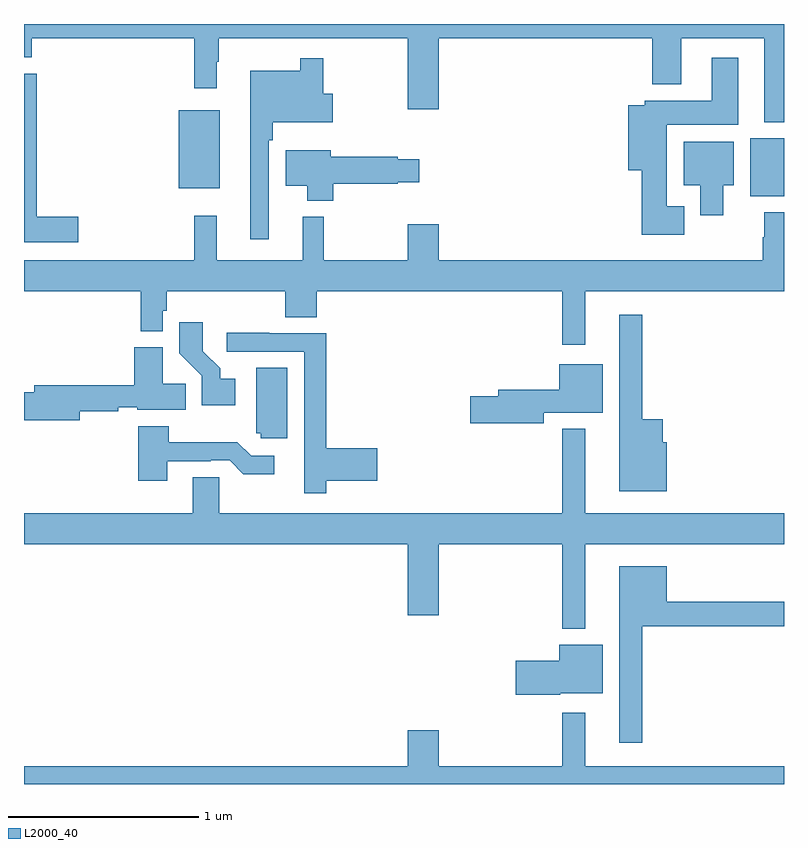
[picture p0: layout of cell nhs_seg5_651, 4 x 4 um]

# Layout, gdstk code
import gdstk
lib = gdstk.Library(unit=1e-6, precision=1e-09)
def R(c, l, rs):  # rectangles x0, y0, x1, y1
    for r in rs: c.add(gdstk.rectangle(r[:2], r[2:], *l))
def P(c, l, *ps):  # polygons
    for p in ps: c.add(gdstk.Polygon(p, *l))
L2000_40 = (2000, 40)

nhs_seg5_651 = lib.new_cell('nhs_seg5_651')
R(nhs_seg5_651, L2000_40, [(154.823,891.893,155,892.198), (151.814,891.935,152.029,892.345)])
P(nhs_seg5_651, L2000_40, [(155,892.799),(151,892.799),(151,892.625),(151.04,892.625),(151.04,892.724),(151.897,892.724),(151.897,892.461),(152.014,892.461),(152.014,892.601),(152.026,892.601),(152.026,892.724),(153.02,892.724),(153.02,892.35),(153.184,892.35),(153.184,892.724),(154.307,892.724),(154.307,892.481),(154.459,892.481),(154.459,892.724),(154.895,892.724),(154.895,892.283),(155,892.283)],
  [(154.474,891.841),(154.384,891.841),(154.384,892.268),(154.759,892.268),(154.759,892.621),(154.619,892.621),(154.619,892.396),(154.266,892.396),(154.266,892.372),(154.181,892.372),(154.181,892.028),(154.25,892.028),(154.25,891.689),(154.474,891.689)],
  [(152.289,892.187),(152.309,892.187),(152.309,892.283),(152.626,892.283),(152.626,892.431),(152.575,892.431),(152.575,892.618),(152.454,892.618),(152.454,892.552),(152.192,892.552),(152.192,891.666),(152.289,891.666)],
  [(151.285,891.785),(151.067,891.785),(151.067,892.538),(151,892.538),(151,891.65),(151.285,891.65)],
  [(154.681,891.95),(154.735,891.95),(154.735,892.18),(154.472,892.18),(154.472,891.95),(154.559,891.95),(154.559,891.792),(154.681,891.792)],
  [(152.627,891.958),(152.966,891.958),(152.966,891.965),(153.079,891.965),(153.079,892.087),(152.966,892.087),(152.966,892.1),(152.614,892.1),(152.614,892.135),(152.378,892.135),(152.378,891.947),(152.492,891.947),(152.492,891.869),(152.627,891.869)],
  [(153.955,891.392),(155,891.392),(155,891.808),(154.895,891.808),(154.895,891.677),(154.888,891.677),(154.888,891.556),(153.184,891.556),(153.184,891.745),(153.02,891.745),(153.02,891.556),(152.578,891.556),(152.578,891.784),(152.468,891.784),(152.468,891.556),(152.015,891.556),(152.015,891.79),(151.897,891.79),(151.897,891.556),(151,891.556),(151,891.392),(151.615,891.392),(151.615,891.182),(151.731,891.182),(151.731,891.291),(151.751,891.291),(151.751,891.392),(152.375,891.392),(152.375,891.256),(152.54,891.256),(152.54,891.392),(153.834,891.392),(153.834,891.111),(153.955,891.111)],
  [(154.384,890.598),(154.363,890.598),(154.363,890.719),(154.255,890.719),(154.255,891.268),(154.133,891.268),(154.133,890.339),(154.384,890.339)],
  [(152.113,890.932),(152.032,890.932),(152.032,890.987),(151.942,891.077),(151.942,891.229),(151.816,891.229),(151.816,891.066),(151.935,890.947),(151.935,890.792),(152.113,890.792)],
  [(152.591,890.396),(152.86,890.396),(152.86,890.567),(152.591,890.567),(152.591,891.171),(152.291,891.171),(152.291,891.174),(152.067,891.174),(152.067,891.075),(152.475,891.075),(152.475,890.55),(152.474,890.55),(152.474,890.328),(152.591,890.328)],
  [(151.294,890.761),(151.496,890.761),(151.496,890.781),(151.596,890.781),(151.596,890.768),(151.85,890.768),(151.85,890.906),(151.729,890.906),(151.729,891.097),(151.58,891.097),(151.58,890.897),(151.055,890.897),(151.055,890.861),(151,890.861),(151,890.714),(151.294,890.714)],
  [(153.736,890.753),(154.045,890.753),(154.045,891.007),(153.818,891.007),(153.818,890.875),(153.497,890.875),(153.497,890.84),(153.348,890.84),(153.348,890.698),(153.736,890.698)],
  [(152.386,890.99),(152.222,890.99),(152.222,890.646),(152.247,890.646),(152.247,890.619),(152.386,890.619)],
  [(151.753,890.499),(151.982,890.499),(151.982,890.502),(152.082,890.502),(152.155,890.429),(152.317,890.429),(152.317,890.526),(152.196,890.526),(152.123,890.599),(151.761,890.599),(151.761,890.683),(151.601,890.683),(151.601,890.394),(151.753,890.394)],
  [(153.955,890.06),(155,890.06),(155,890.224),(153.955,890.224),(153.955,890.668),(153.834,890.668),(153.834,890.224),(152.028,890.224),(152.028,890.414),(151.889,890.414),(151.889,890.224),(151,890.224),(151,890.06),(153.02,890.06),(153.02,889.686),(153.184,889.686),(153.184,890.06),(153.834,890.06),(153.834,889.616),(153.955,889.616)],
  [(154.255,889.63),(155,889.63),(155,889.759),(154.384,889.759),(154.384,889.945),(154.133,889.945),(154.133,889.017),(154.255,889.017)],
  [(153.822,889.277),(154.045,889.277),(154.045,889.531),(153.818,889.531),(153.818,889.448),(153.588,889.448),(153.588,889.27),(153.822,889.27)],
  [(155,888.892),(153.955,888.892),(153.955,889.174),(153.834,889.174),(153.834,888.892),(153.184,888.892),(153.184,889.081),(153.02,889.081),(153.02,888.892),(151,888.892),(151,888.799),(155,888.799)])

lib.write_gds('nhs_seg5_651.gds')
